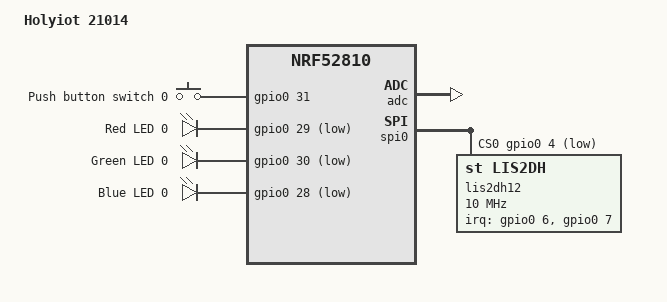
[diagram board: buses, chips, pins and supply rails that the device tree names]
/*
 * Copyright (c) 2018 Nordic Semiconductor ASA
 * Copyright (c) 2017 Shawn Nock <shawn@monadnock.ca>
 * Copyright (c) 2017 Linaro Limited
 *
 * SPDX-License-Identifier: Apache-2.0
 */

/dts-v1/;
#include <nordic/nrf52810_qfaa.dtsi>
#include "holyiot_21014-pinctrl.dtsi"

/ {
	model = "Holyiot 21014";
	compatible = "nordic,holyiot-21014";

	chosen {
		zephyr,sram = &sram0;
		zephyr,flash = &flash0;
		zephyr,code-partition = &slot0_partition;
	};

	buttons {
		compatible = "gpio-keys";
		button0: button_0 {
			gpios = <&gpio0 31 GPIO_ACTIVE_HIGH>;
			label = "Push button switch 0";
		};
	};


	leds {
		compatible = "gpio-leds";
		led0_red: led_0 {
			gpios = <&gpio0 29 GPIO_ACTIVE_LOW>;
			label = "Red LED 0";
		};
		led0_green: led_1 {
			gpios = <&gpio0 30 GPIO_ACTIVE_LOW>;
			label = "Green LED 0";
		};
		led0_blue: led_2 {
			gpios = <&gpio0 28 GPIO_ACTIVE_LOW>;
			label = "Blue LED 0";
		};
	};

	/* These aliases are provided for compatibility with samples */
	aliases {
		led0 = &led0_red;
		led1 = &led0_green;
		led2 = &led0_blue;
		led0-red   = &led0_red;
		led0-green = &led0_green;
		led0-blue  = &led0_blue;
		sw0 = &button0;
	};
};

&adc {
	status = "okay";
};

&gpiote {
	status = "okay";
};

&gpio0 {
	status = "okay";
};

&spi0 {
	compatible = "nordic,nrf-spi";
	status = "okay";
	cs-gpios = <&gpio0 4 GPIO_ACTIVE_LOW>;
	pinctrl-0 = <&spi0_default>;
	pinctrl-1 = <&spi0_sleep>;
	pinctrl-names = "default", "sleep";

	lis2dh12: lis2dh12@0 {
		compatible = "st,lis2dh", "st,lis2dh12";
		reg = <0>;
		spi-max-frequency = <10000000>;
		irq-gpios =  <&gpio0 6 GPIO_ACTIVE_HIGH>, <&gpio0 7 GPIO_ACTIVE_HIGH>;
	};
};

&flash0 {

	partitions {
		compatible = "fixed-partitions";
		#address-cells = <1>;
		#size-cells = <1>;

		boot_partition: partition@0 {
			label = "mcuboot";
			reg = <0x00000000 0xc000>;
		};
		slot0_partition: partition@c000 {
			label = "image-0";
			reg = <0x0000C000 0xd000>;
		};
		slot1_partition: partition@19000 {
			label = "image-1";
			reg = <0x00019000 0xd000>;
		};
		scratch_partition: partition@26000 {
			label = "image-scratch";
			reg = <0x00026000 0x3000>;
		};
		storage_partition: partition@29000 {
			label = "storage";
			reg = <0x00029000 0x00007000>;
		};
	};
};
